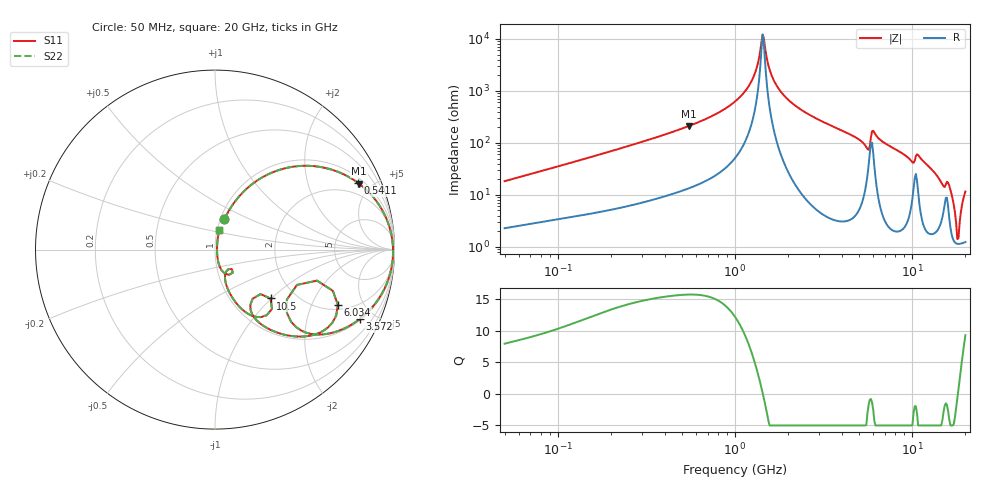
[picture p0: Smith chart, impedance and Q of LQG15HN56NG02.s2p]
!Murata Part Number: LQG15HN56NG02
!These Parameters are Measured in Series Mode Connection
!  o--[Z]--o
!Port1  Port2
!  o-------o
!Freq. Start=50[MHz] Stop=20[GHz], 401[Steps]
# Hz S RI R 50
!Freq.(Hz) S11(Real) S11(Imag) S21(Real) S21(Imag) S12(Real) S12(Imag) S22(Real) S22(Imag)
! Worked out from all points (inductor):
!   401 points, 50 MHz to 20 GHz, reference 50 ohm
!   read as one part in series: L = 56.9 nH near 51.52 MHz
!   highest Q = 15.8 at 549.3 MHz (marker M1), where L = 61.1 nH
!   self-resonance near 1.433 GHz
!   S11 on the Smith chart (normalised r, x): 50 MHz: 1.05, +0.36; 541.1 MHz: 1.26, +4.14; 3.572 GHz: 1.07, -4.14; 6.034 GHz: 2.25, -3.17; 10.5 GHz: 1.51, -0.99; 20 GHz: 1.02, +0.23
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5e7  0.0522 0.1684  0.9478 -0.1684  0.9478 -0.1684  0.0522 0.1684
1.364002e8  0.2041 0.3625  0.7959 -0.3625  0.7959 -0.3625  0.2041 0.3625
3.721004e8  0.6303 0.4511  0.3697 -0.4511  0.3697 -0.4511  0.6303 0.4511
5.411141e8  0.7966 0.3721  0.2034 -0.3721  0.2034 -0.3721  0.7966 0.3721
5.492803e8  0.8024 0.3678  0.1976 -0.3678  0.1976 -0.3678  0.8024 0.3678
1e9  0.9633 0.1517  0.0367 -0.1517  0.0367 -0.1517  0.9633 0.1517
1.251922e9  0.987 0.0585  0.013 -0.0585  0.013 -0.0585  0.987 0.0585
1.432596e9  0.9919 0.00119  0.00805 -0.00119  0.00805 -0.00119  0.9919 0.00119
1.590961e9  0.9909 -0.0439  0.00912 0.0439  0.00912 0.0439  0.9909 -0.0439
1.766834e9  0.9854 -0.0894  0.0146 0.0894  0.0146 0.0894  0.9854 -0.0894
2.728004e9  0.909 -0.2783  0.091 0.2783  0.091 0.2783  0.909 -0.2783
3.572216e9  0.8068 -0.3868  0.1932 0.3868  0.1932 0.3868  0.8068 -0.3868
5.041459e9  0.5655 -0.4732  0.4345 0.4732  0.4345 0.4732  0.5655 -0.4732
5.598765e9  0.4008 -0.3532  0.5992 0.3532  0.5992 0.3532  0.4008 -0.3532
6.034176e9  0.6843 -0.3074  0.3157 0.3074  0.3157 0.3074  0.6843 -0.3074
7.442007e9  0.4351 -0.4827  0.5649 0.4827  0.5649 0.4827  0.4351 -0.4827
9.745021e9  0.2074 -0.3603  0.7926 0.3603  0.7926 0.3603  0.2074 -0.3603
1.050288e10  0.3095 -0.2724  0.6905 0.2724  0.6905 0.2724  0.3095 -0.2724
1.621653e10  0.0529 -0.1325  0.9471 0.1325  0.9471 0.1325  0.0529 -0.1325
1.800918e10  0.0114 -0.00795  0.9886 0.00795  0.9886 0.00795  0.0114 -0.00795
1.855685e10  0.012 0.0259  0.988 -0.0259  0.988 -0.0259  0.012 0.0259
2e10  0.0249 0.1111  0.9751 -0.1111  0.9751 -0.1111  0.0249 0.1111
